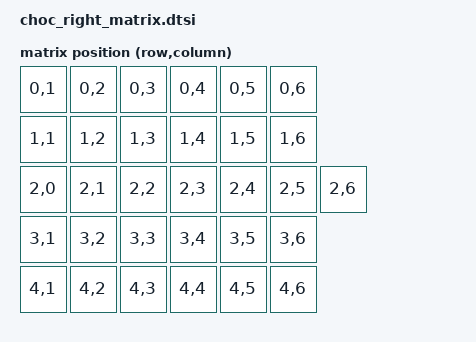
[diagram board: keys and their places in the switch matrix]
#include <dt-bindings/zmk/matrix_transform.h>

/ {
    default_transform: matrix_transform {
        compatible = "zmk,matrix-transform";
        rows = <5>;
        columns = <7>;
        map = <
            RC(0,1) RC(0,2) RC(0,3) RC(0,4) RC(0,5) RC(0,6)
            RC(1,1) RC(1,2) RC(1,3) RC(1,4) RC(1,5) RC(1,6)
            RC(2,0) RC(2,1) RC(2,2) RC(2,3) RC(2,4) RC(2,5) RC(2,6)
            RC(3,1) RC(3,2) RC(3,3) RC(3,4) RC(3,5) RC(3,6)
            RC(4,1) RC(4,2) RC(4,3) RC(4,4) RC(4,5) RC(4,6)
        >;
    };
};
